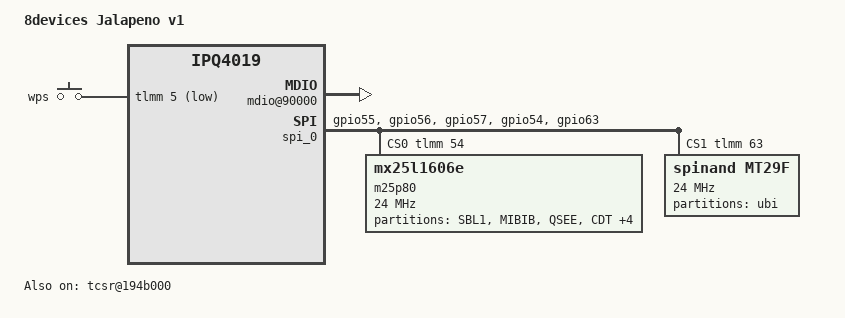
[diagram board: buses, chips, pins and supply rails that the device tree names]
/* Copyright (c) 2015, The Linux Foundation. All rights reserved.
 *
 * Permission to use, copy, modify, and/or distribute this software for any
 * purpose with or without fee is hereby granted, provided that the above
 * copyright notice and this permission notice appear in all copies.
 *
 * THE SOFTWARE IS PROVIDED "AS IS" AND THE AUTHOR DISCLAIMS ALL WARRANTIES
 * WITH REGARD TO THIS SOFTWARE INCLUDING ALL IMPLIED WARRANTIES OF
 * MERCHANTABILITY AND FITNESS. IN NO EVENT SHALL THE AUTHOR BE LIABLE FOR
 * ANY SPECIAL, DIRECT, INDIRECT, OR CONSEQUENTIAL DAMAGES OR ANY DAMAGES
 * WHATSOEVER RESULTING FROM LOSS OF USE, DATA OR PROFITS, WHETHER IN AN
 * ACTION OF CONTRACT, NEGLIGENCE OR OTHER TORTIOUS ACTION, ARISING OUT OF
 * OR IN CONNECTION WITH THE USE OR PERFORMANCE OF THIS SOFTWARE.
 *
 */

#include "qcom-ipq4019-ap.dk01.1.dtsi"
#include <dt-bindings/gpio/gpio.h>
#include <dt-bindings/input/input.h>
#include <dt-bindings/soc/qcom,tcsr.h>

/ {
	model = "8devices Jalapeno v1";
	compatible = "8dev,jalapeno", "qcom,ipq4019";

	reserved-memory {
		#address-cells = <0x1>;
		#size-cells = <0x1>;
		ranges;

		rsvd1@87E00000 {
			reg = <0x87e00000 0x200000>;
			no-map;
		};
	};

	soc {

		tcsr@194b000 {
			/* select hostmode */
			compatible = "qcom,tcsr";
			reg = <0x194b000 0x100>;
			qcom,usb-hsphy-mode-select = <TCSR_USB_HSPHY_HOST_MODE>;
			status = "ok";
		};

		ess_tcsr@1953000 {
			compatible = "qcom,tcsr";
			reg = <0x1953000 0x1000>;
			qcom,ess-interface-select = <TCSR_ESS_PSGMII>;
		};

		tcsr@1949000 {
			compatible = "qcom,tcsr";
			reg = <0x1949000 0x100>;
			qcom,wifi_glb_cfg = <TCSR_WIFI_GLB_CFG>;
		};

		tcsr@1957000 {
			compatible = "qcom,tcsr";
			reg = <0x1957000 0x100>;
			qcom,wifi_noc_memtype_m0_m2 = <TCSR_WIFI_NOC_MEMTYPE_M0_M2>;
		};
	
		pinctrl@0x01000000 {
			spi_0_pins: spi_0_pinmux {
				pinmux {
					function = "blsp_spi0";
					pins = "gpio55", "gpio56", "gpio57";
				};
				pinmux_cs {
					function = "gpio";
					pins = "gpio54", "gpio63";
				};
				pinconf {
					pins =   "gpio55", "gpio56", "gpio57";
					drive-strength = <2>;
					bias-disable;
				};
				pinconf_cs {
					pins = "gpio54", "gpio63";
					drive-strength = <2>;
					bias-disable;
					output-high;
				};
			};
		};
		
		edma@c080000 {
			status = "okay";
			gmac0 {
				qcom,poll_required = <1>;
				qcom,poll_required_dynamic = <1>;
				qcom,phy_mdio_addr = <3>;
				vlan_tag = <1 0x10>;
			};
			gmac1 {
				qcom,poll_required = <1>;
				qcom,poll_required_dynamic = <1>;
				qcom,phy_mdio_addr = <4>;
				vlan_tag = <2 0x20>;
			};
		};

		mdio@90000 {
			status = "ok";
		};

		ess-switch@c000000 {
			status = "ok";
			switch_lan_bmp = <0x10>; /* lan port bitmap */
		};

		ess-psgmii@98000 {
			status = "ok";
		};
		
		gpio-keys {
			compatible = "gpio-keys";
			wps {
				label = "wps";
				gpios = <&tlmm 5 GPIO_ACTIVE_LOW>;
				linux,code = <KEY_WPS_BUTTON>;
			};
		};
		
		spi_0: spi@78b5000 {
			pinctrl-0 = <&spi_0_pins>;
			pinctrl-names = "default";
			cs-gpios = <&tlmm 54 0>,
					   <&tlmm 63 0>;
			status = "ok";

			mx25l25635e@0 {
				status = "disabled";
			};

			m25p80@0 {
				#address-cells = <1>;
				#size-cells = <0>;
				reg = <0>;
				compatible = "mx25l1606e", "n25q128a11";
				linux,modalias = "m25p80", "mx25l1606e", "n25q128a11";
				spi-max-frequency = <24000000>;

				partitions {
					compatible = "fixed-partitions";
					#address-cells = <1>;
					#size-cells = <1>;

					partition0@0 {
						label = "SBL1";
						reg = <0x00000000 0x00040000>;
						read-only;
					};
					partition1@40000 {
						label = "MIBIB";
						reg = <0x00040000 0x00020000>;
						read-only;
					};
					partition2@60000 {
						label = "QSEE";
						reg = <0x00060000 0x00060000>;
						read-only;
					};
					partition3@c0000 {
						label = "CDT";
						reg = <0x000c0000 0x00010000>;
						read-only;
					};
					partition4@d0000 {
						label = "DDRPARAMS";
						reg = <0x000d0000 0x00010000>;
						read-only;
					};
					partition5@e0000 {
						label = "APPSBLENV"; /* uboot env*/
						reg = <0x000e0000 0x00010000>;
						read-only;
					};
					partition5@f0000 {
						label = "APPSBL"; /* uboot */
						reg = <0x000f0000 0x00080000>;
						read-only;
					};
					partition5@170000 {
						label = "ART";
						reg = <0x00170000 0x00010000>;
						read-only;
					};
				};
			};

			mt29f@1 {
				status = "ok";
				#address-cells = <1>;
				#size-cells = <0>;
				compatible = "spinand,mt29f", "w25n01gv";
				reg = <1>;
				spi-max-frequency = <24000000>;
				partitions {
					compatible = "fixed-partitions";
					#address-cells = <1>;
					#size-cells = <1>;

					partition0@0 {
						label = "ubi";
						reg = <0x00000000 0x08000000>;
					};
				};
			};
		};
	};
};
